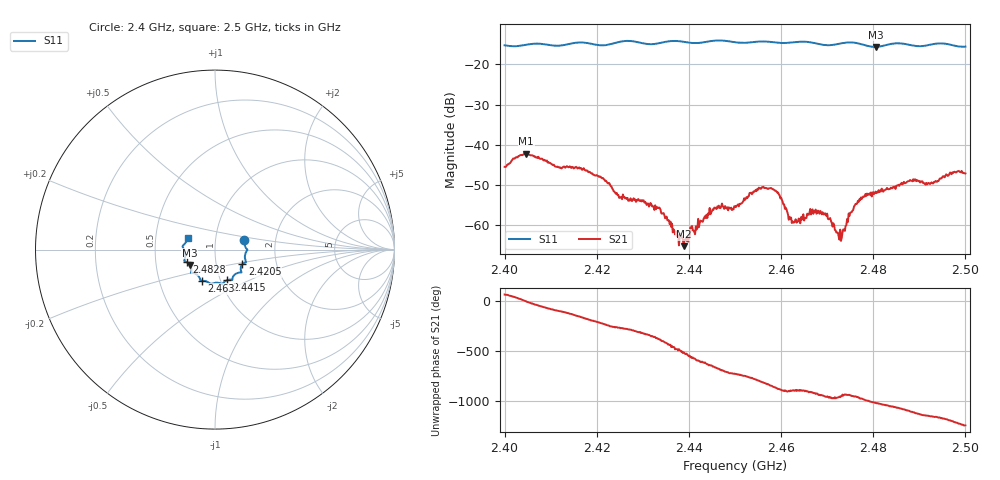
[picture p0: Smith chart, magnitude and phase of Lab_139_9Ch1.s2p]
# Hz S RI R 50
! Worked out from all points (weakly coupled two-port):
!   601 points, 2.4 GHz to 2.5 GHz, reference 50 ohm
!   highest |S21| = -42.22 dB at 2.4047 GHz (marker M1); lowest = -65.1 dB at 2.4388 GHz (marker M2)
!   lowest |S11| = -15.7 dB at 2.4807 GHz (marker M3), VSWR 1.39, Z = 37.2 - j6.56 ohm
!   |S11| at or under -10 dB: start of sweep to end of sweep
!   S12 and S22 are empty: the file has one direction only
!   S11 on the Smith chart (normalised r, x): 2.4 GHz: 1.38, +0.15; 2.4205 GHz: 1.34, -0.23; 2.4415 GHz: 1.07, -0.38; 2.463 GHz: 0.82, -0.29; 2.4828 GHz: 0.72, -0.10; 2.5 GHz: 0.73, +0.10
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2.4e9  0.1638 0.052  0.00211 0.0049  0 0  0 0
2.404667e9  0.1745 0.00569  0.00774 -0.000211  0 0  0 0
2.416667e9  0.1728 -0.07  -0.00482 -0.00168  0 0  0 0
2.4205e9  0.152 -0.0817  -0.00331 0.00225  0 0  0 0
2.425e9  0.146 -0.1217  -0.000123 0.00219  0 0  0 0
2.433333e9  0.1002 -0.1514  0.00154 -0.000586  0 0  0 0
2.438833e9  0.0895 -0.1677  -0.0005 -0.000237  0 0  0 0
2.4415e9  0.066 -0.1709  -0.000656 0.000726  0 0  0 0
2.445667e9  0.0418 -0.192  0.000986 0.00134  0 0  0 0
2.45e9  0.024 -0.1861  0.00171 -0.000335  0 0  0 0
2.454833e9  -0.0158 -0.1898  0.000751 -0.00273  0 0  0 0
2.457833e9  -0.0307 -0.1865  -0.00183 -0.00227  0 0  0 0
2.4595e9  -0.0425 -0.1795  -0.0023 -0.000793  0 0  0 0
2.463e9  -0.0722 -0.1738  -0.00113 -3.78e-05  0 0  0 0
2.466667e9  -0.082 -0.1671  -0.00148 0.000351  0 0  0 0
2.4695e9  -0.0947 -0.145  -0.000775 0.00118  0 0  0 0
2.472833e9  -0.1254 -0.1301  -0.000387 0.000799  0 0  0 0
2.4765e9  -0.1328 -0.1255  -0.000813 0.00168  0 0  0 0
2.480667e9  -0.1399 -0.0858  0.00146 0.00204  0 0  0 0
2.482833e9  -0.1586 -0.0701  0.00226 0.00167  0 0  0 0
2.483333e9  -0.1625 -0.0681  0.00243 0.00142  0 0  0 0
2.5e9  -0.1527 0.0642  -0.00431 -0.000957  0 0  0 0
